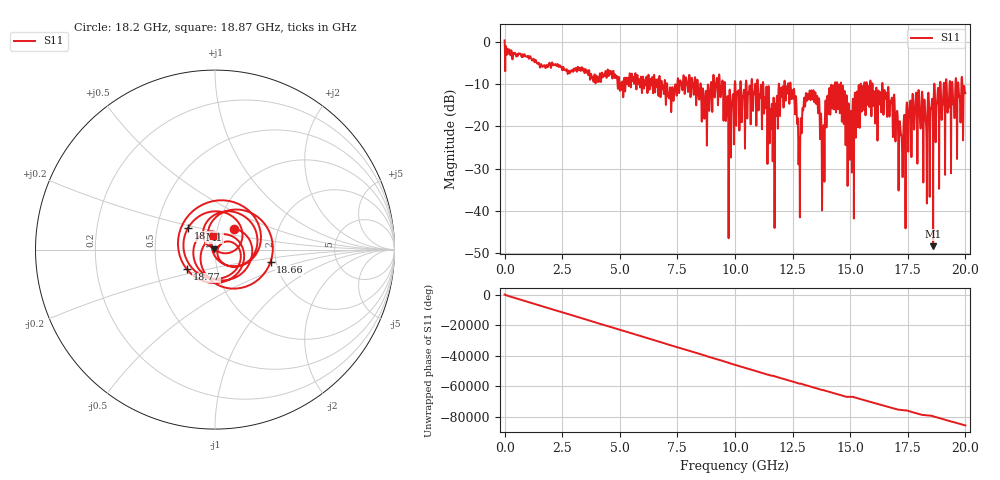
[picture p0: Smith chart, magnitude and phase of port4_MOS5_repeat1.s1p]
! MS46122B
! 2250307/22442219
! 7/28/2025 8:08:25 AM
! C:\USERS\SPARKY\DOCUMENTS\VNA_DATA\JULY28_2025\295K\PORT4_MOS5_REPEAT1.S1P
! CHANNEL.1
! TR.MEASUREMENT
! RAW.DATA
# GHZ S RI R 50.0
! FREQ.GHZ  S11RE  S11IM
!; PortSelection: Port_1
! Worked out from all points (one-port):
!   10001 points, 1 MHz to 20 GHz, reference 50 ohm
!   lowest |S11| = -48.4 dB at 18.6 GHz (marker M1), VSWR 1.01, Z = 49.7 + j0.189 ohm
!   |S11| at or under -10 dB: 12.42 GHz to 14.33 GHz (1.919 GHz wide, 14.3 % of centre); 14.6 GHz to 15.45 GHz (845.3 MHz wide, 5.63 % of centre); 16.41 GHz to 18.65 GHz (2.241 GHz wide, 12.8 % of centre) (the widest 3 of 68)
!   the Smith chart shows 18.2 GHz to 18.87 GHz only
!   S11 on the Smith chart (normalised r, x): 18.2 GHz: 1.20, +0.29; 18.54 GHz: 0.72, +0.18; 18.66 GHz: 1.87, -0.28; 18.77 GHz: 0.71, -0.16; 18.87 GHz: 0.97, +0.15
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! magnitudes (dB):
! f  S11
! 1 MHz  0.4
! 2.501 GHz  -6.7
! 5.001 GHz  -11.4
! 7.501 GHz  -9.6
! 10 GHz  -9.3
! 11.05 GHz  -12.8
! 11.64 GHz  -25.3
! 11.98 GHz  -11.5
! 12.5 GHz  -12.0
! 12.8 GHz  -25.1
! 13.01 GHz  -13.4
! 13.32 GHz  -11.5
! 13.57 GHz  -13.1
! 13.79 GHz  -29.1
! 14.01 GHz  -12.8
! 14.26 GHz  -10.2
! 15 GHz  -19.8
! 15.79 GHz  -10.4
! 16.73 GHz  -14.9
! 17.19 GHz  -21.3
! 17.5 GHz  -19.8
! 18.2 GHz  -16.1
! 18.54 GHz  -14.3
! 18.6 GHz  -48.4
! 18.66 GHz  -10.0
! 18.77 GHz  -14.4
! 18.87 GHz  -22.1
! 20 GHz  -12.1
